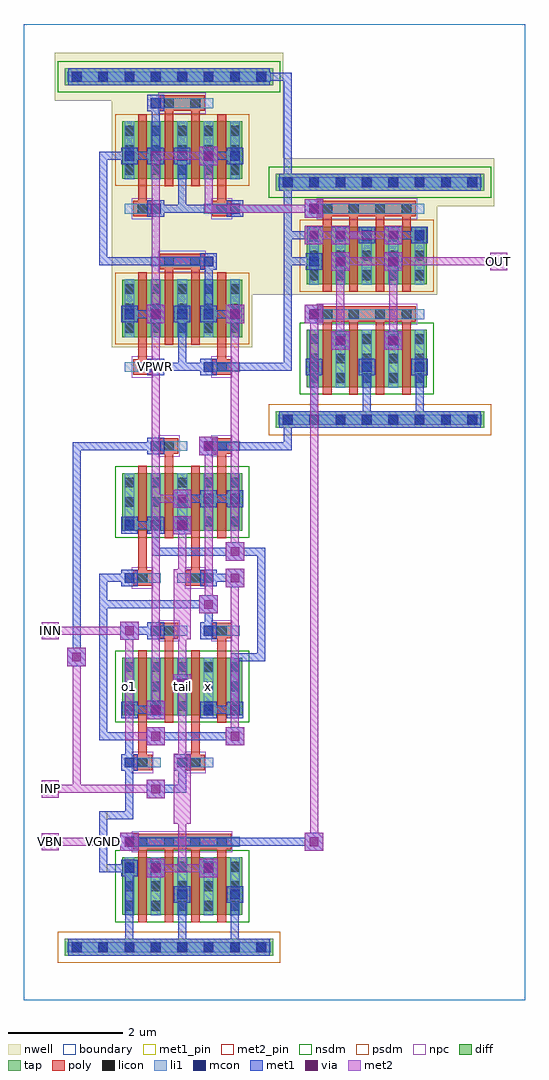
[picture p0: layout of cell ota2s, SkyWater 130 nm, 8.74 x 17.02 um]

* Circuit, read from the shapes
.subckt ota2s INN INP OUT VBN VGND VPWR o1 tail x
XM1 tail VBN VGND VGND sky130_fd_pr__nfet_01v8 w=1 l=0.15 m=4
XM2 o1 VGND o1 VGND sky130_fd_pr__nfet_01v8 w=1 l=0.15 m=2
XM3 x VGND x VGND sky130_fd_pr__nfet_01v8 w=1 l=0.15 m=2
XM4 tail INN o1 VGND sky130_fd_pr__nfet_01v8 w=1 l=0.15 m=2
XM5 tail INP x VGND sky130_fd_pr__nfet_01v8 w=1 l=0.15 m=2
XM6 OUT VBN VGND VGND sky130_fd_pr__nfet_01v8 w=1 l=0.15 m=4
XM7 o1 VPWR o1 VPWR sky130_fd_pr__pfet_01v8 w=1 l=0.15 m=2
XM8 x VPWR x VPWR sky130_fd_pr__pfet_01v8 w=1 l=0.15 m=2
XM9 VPWR x o1 VPWR sky130_fd_pr__pfet_01v8 w=1 l=0.15 m=2
XM10 VPWR x x VPWR sky130_fd_pr__pfet_01v8 w=1 l=0.15 m=2
XM11 OUT o1 VPWR VPWR sky130_fd_pr__pfet_01v8 w=1 l=0.15 m=4
.ends

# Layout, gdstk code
import gdstk
lib = gdstk.Library(unit=1e-6, precision=1e-09)
def R(c, l, rs):  # rectangles x0, y0, x1, y1
    for r in rs: c.add(gdstk.rectangle(r[:2], r[2:], *l))
def A(c, l, x, y, w, h, nx, ny, dx, dy):  # array of equal rectangles
    R(c, l, [(x+i*dx, y+j*dy, x+i*dx+w, y+j*dy+h) for i in range(nx) for j in range(ny)])
nwell = (64, 20)
diff = (65, 20)
tap = (65, 44)
poly = (66, 20)
licon = (66, 44)
li1 = (67, 20)
mcon = (67, 44)
met1_pin = (68, 16)
met1 = (68, 20)
via = (68, 44)
met2_pin = (69, 16)
met2 = (69, 20)
nsdm = (93, 44)
psdm = (94, 20)
npc = (95, 20)
boundary = (235, 4)

ota2s = lib.new_cell('ota2s')
R(ota2s, nwell, [(1.535,11.38,3.985,12.3), (1.535,12.3,7.205,13.84), (1.535,13.84,8.205,14.68), (1.535,14.68,4.525,15.68), (0.535,15.68,4.525,16.52)])
R(ota2s, diff, [(1.715,1.485,3.805,2.485), (1.715,4.965,3.805,5.965), (1.715,8.185,3.805,9.185), (4.935,10.685,7.025,11.685), (1.715,11.56,3.805,12.56), (4.935,12.48,7.025,13.48), (1.715,14.32,3.805,15.32)])
R(ota2s, tap, [(0.715,0.775,4.345,1.065), (4.395,9.975,8.025,10.265), (4.395,14.115,8.025,14.405), (0.715,15.955,4.345,16.245)])
A(ota2s, poly, 1.995, 1.355, 0.15, 1.405, 4, 1, 0.46, 0)
A(ota2s, poly, 5.215, 10.555, 0.15, 1.405, 4, 1, 0.46, 0)
A(ota2s, poly, 5.215, 12.35, 0.15, 1.45, 4, 1, 0.46, 0)
R(ota2s, poly, [(1.905,2.625,3.615,2.895), (1.905,4.005,2.235,4.275), (2.825,4.005,3.155,4.275), (1.995,4.14,2.145,6.095), (2.915,4.14,3.065,6.095), (2.455,4.835,2.605,6.44), (3.375,4.835,3.525,6.44), (2.365,6.305,2.695,6.575), (3.285,6.305,3.615,6.575), (1.905,7.225,2.235,7.495), (2.825,7.225,3.155,7.495), (1.995,7.36,2.145,9.315), (2.915,7.36,3.065,9.315), (2.455,8.055,2.605,9.66), (3.375,8.055,3.525,9.66), (2.365,9.525,2.695,9.795), (3.285,9.525,3.615,9.795), (1.905,10.905,2.235,11.175), (3.285,10.905,3.615,11.175), (1.995,11.04,2.145,12.69), (3.375,11.04,3.525,12.69), (2.455,11.43,2.605,12.88), (2.915,11.43,3.065,12.88), (5.125,11.825,6.835,12.095), (2.365,12.745,3.155,13.015), (1.905,13.665,2.235,13.935), (3.285,13.665,3.615,13.935), (5.125,13.665,6.835,13.935), (1.995,13.8,2.145,15.45), (3.375,13.8,3.525,15.45), (2.455,14.19,2.605,15.64), (2.915,14.19,3.065,15.64), (2.365,15.505,3.155,15.775)])
A(ota2s, licon, 0.835, 0.835, 0.17, 0.17, 8, 2, 0.46, 15.18)
A(ota2s, licon, 1.755, 1.56, 0.17, 0.17, 5, 3, 0.46, 0.34)
A(ota2s, licon, 1.985, 2.675, 0.17, 0.17, 4, 1, 0.46, 0)
A(ota2s, licon, 1.755, 5.04, 0.17, 0.17, 5, 3, 0.46, 0.34)
A(ota2s, licon, 2.445, 6.355, 0.17, 0.17, 1, 3, 0, 3.22)
A(ota2s, licon, 1.755, 8.26, 0.17, 0.17, 5, 3, 0.46, 0.34)
A(ota2s, licon, 4.515, 10.035, 0.17, 0.17, 8, 2, 0.46, 4.14)
A(ota2s, licon, 4.975, 10.76, 0.17, 0.17, 5, 3, 0.46, 0.34)
A(ota2s, licon, 1.755, 11.635, 0.17, 0.17, 5, 3, 0.46, 0.34)
A(ota2s, licon, 5.205, 11.875, 0.17, 0.17, 4, 2, 0.46, 1.84)
A(ota2s, licon, 4.975, 12.555, 0.17, 0.17, 5, 3, 0.46, 0.34)
A(ota2s, licon, 1.755, 14.395, 0.17, 0.17, 5, 3, 0.46, 0.34)
R(ota2s, licon, [(1.985,4.055,2.155,4.225), (2.905,4.055,3.075,4.225), (3.365,6.355,3.535,6.525), (1.985,7.275,2.155,7.445), (2.905,7.275,3.075,7.445), (3.365,9.575,3.535,9.745), (1.985,10.955,2.155,11.125), (3.365,10.955,3.535,11.125), (2.905,12.795,3.075,12.965), (1.985,13.715,2.155,13.885), (3.365,13.715,3.535,13.885), (2.445,15.555,2.615,15.725), (2.905,15.555,3.075,15.725)])
A(ota2s, li1, 1.755, 1.48, 0.17, 1.01, 5, 2, 0.46, 3.48)
A(ota2s, li1, 1.755, 8.18, 0.17, 1.01, 5, 2, 0.46, 3.375)
A(ota2s, li1, 4.975, 10.68, 0.17, 1.01, 5, 2, 0.46, 1.795)
A(ota2s, li1, 1.755, 14.315, 0.17, 1.01, 5, 1, 0.46, 0)
R(ota2s, li1, [(0.755,0.835,4.305,1.005), (1.755,2.675,3.765,2.845), (1.755,4.055,2.385,4.225), (2.675,4.055,3.305,4.225), (2.215,6.355,2.845,6.525), (3.135,6.355,3.765,6.525), (1.755,7.275,2.385,7.445), (2.675,7.275,3.305,7.445), (2.215,9.575,2.845,9.745), (3.135,9.575,3.765,9.745), (4.435,10.035,7.985,10.205), (1.755,10.955,2.385,11.125), (3.135,10.955,3.765,11.125), (4.975,11.875,6.985,12.045), (2.215,12.795,3.305,12.965), (1.755,13.715,2.385,13.885), (3.135,13.715,3.765,13.885), (4.975,13.715,6.985,13.885), (4.435,14.175,7.985,14.345), (2.215,15.555,3.305,15.725), (0.755,16.015,4.305,16.185)])
A(ota2s, mcon, 0.835, 0.835, 0.17, 0.17, 8, 2, 0.46, 15.18)
A(ota2s, mcon, 1.755, 8.195, 0.17, 0.17, 3, 1, 0.46, 0)
A(ota2s, mcon, 4.515, 10.035, 0.17, 0.17, 8, 2, 0.46, 4.14)
A(ota2s, mcon, 4.975, 10.955, 0.17, 0.17, 3, 1, 0.92, 0)
A(ota2s, mcon, 1.755, 11.875, 0.17, 0.17, 5, 2, 0.46, 2.76)
A(ota2s, mcon, 2.215, 13.715, 0.17, 0.17, 3, 1, 1.38, 0)
R(ota2s, mcon, [(2.675,1.755,2.845,1.925), (3.595,1.755,3.765,1.925), (1.755,2.215,1.925,2.385), (2.215,2.215,2.385,2.385), (3.135,2.215,3.305,2.385), (1.755,2.675,1.925,2.845), (1.755,4.055,1.925,4.225), (2.675,4.055,2.845,4.225), (1.755,4.975,1.925,5.145), (2.215,4.975,2.385,5.145), (3.135,4.975,3.305,5.145), (3.595,4.975,3.765,5.145), (2.675,5.435,2.845,5.605), (2.215,6.355,2.385,6.525), (3.135,6.355,3.305,6.525), (1.755,7.275,1.925,7.445), (3.135,7.275,3.305,7.445), (3.135,8.655,3.305,8.825), (3.595,8.655,3.765,8.825), (2.215,9.575,2.385,9.745), (3.135,9.575,3.305,9.745), (2.215,10.955,2.385,11.125), (3.135,10.955,3.305,11.125), (5.435,11.415,5.605,11.585), (6.355,11.415,6.525,11.585), (4.975,11.875,5.145,12.045), (3.135,12.795,3.305,12.965), (4.975,12.795,5.145,12.965), (5.435,12.795,5.605,12.965), (6.355,12.795,6.525,12.965), (5.895,13.255,6.065,13.425), (6.815,13.255,6.985,13.425), (2.215,15.555,2.385,15.725)])
R(ota2s, met1_pin, [(1.31,2.23,1.45,3.29), (2.155,10.895,2.445,11.185)])
A(ota2s, met1, 1.695, 8.135, 0.29, 0.29, 3, 1, 0.46, 0)
A(ota2s, met1, 4.99, 10.05, 0.14, 1.06, 3, 1, 0.92, 0)
A(ota2s, met1, 4.915, 10.895, 0.29, 0.29, 3, 1, 0.92, 0)
A(ota2s, met1, 2.14, 11.8, 0.32, 0.32, 3, 1, 1.38, 0)
A(ota2s, met1, 1.695, 11.815, 0.29, 0.29, 5, 2, 0.46, 2.76)
A(ota2s, met1, 4.53, 13.27, 0.6, 0.14, 3, 1, 0.92, 0)
A(ota2s, met1, 2.155, 13.655, 0.29, 0.29, 3, 1, 1.38, 0)
R(ota2s, met1, [(0.775,0.775,4.285,1.065), (1.77,0.85,2.83,0.99), (1.77,0.85,1.91,0.99), (1.77,0.85,1.91,2.37), (2.69,0.85,3.75,0.99), (2.69,0.85,2.83,1.91), (3.61,0.85,3.75,1.91), (2.615,1.695,2.905,1.985), (3.535,1.695,3.825,1.985), (2.14,2.14,2.46,2.46), (3.06,2.14,3.38,2.46), (1.695,2.155,1.985,2.445), (2.155,2.155,2.445,2.445), (3.075,2.155,3.365,2.445), (1.31,2.23,1.91,2.37), (1.31,2.23,1.45,3.29), (1.68,2.6,2,2.92), (4.9,2.6,5.22,2.92), (1.695,2.615,1.985,2.905), (1.77,2.69,5.13,2.83), (1.31,3.15,1.91,3.29), (1.77,3.15,1.91,4.21), (2.14,3.52,2.46,3.84), (2.23,3.61,2.83,3.75), (2.69,3.61,2.83,4.21), (1.695,3.995,1.985,4.285), (2.615,3.995,2.905,4.285), (1.77,4.07,1.91,4.67), (2.14,4.44,2.46,4.76), (3.52,4.44,3.84,4.76), (1.31,4.53,1.91,4.67), (1.31,4.53,1.45,7.43), (2.23,4.53,3.75,4.67), (2.14,4.9,2.46,5.22), (1.695,4.915,1.985,5.205), (2.155,4.915,2.445,5.205), (3.075,4.915,3.365,5.205), (3.535,4.915,3.825,5.205), (1.77,4.99,2.37,5.13), (3.15,4.99,3.75,5.13), (3.61,4.99,3.75,6.05), (2.6,5.36,2.92,5.68), (2.615,5.375,2.905,5.665), (0.76,5.82,1.08,6.14), (0.85,5.91,0.99,9.73), (3.61,5.91,4.21,6.05), (4.07,5.91,4.21,7.89), (1.68,6.28,2,6.6), (2.155,6.295,2.445,6.585), (3.075,6.295,3.365,6.585), (1.77,6.37,2.37,6.51), (3.15,6.37,3.29,6.97), (3.06,6.74,3.38,7.06), (1.31,6.83,3.29,6.97), (3.52,7.2,3.84,7.52), (1.695,7.215,1.985,7.505), (3.075,7.215,3.365,7.505), (1.31,7.29,1.91,7.43), (3.15,7.29,3.75,7.43), (3.52,7.66,3.84,7.98), (2.23,7.75,2.37,8.35), (2.23,7.75,4.21,7.89), (2.6,8.12,2.92,8.44), (1.77,8.21,2.37,8.35), (2.6,8.58,2.92,8.9), (3.075,8.595,3.365,8.885), (3.535,8.595,3.825,8.885), (2.69,8.67,3.29,8.81), (3.15,8.67,3.75,8.81), (3.06,9.5,3.38,9.82), (2.155,9.515,2.445,9.805), (3.075,9.515,3.365,9.805), (0.85,9.59,2.37,9.73), (3.15,9.59,4.67,9.73), (4.53,9.59,4.67,10.19), (4.455,9.975,7.965,10.265), (4.53,10.05,5.13,10.19), (4.53,10.05,4.67,10.19), (4.99,10.05,6.05,10.19), (5.91,10.05,6.97,10.19), (2.155,10.895,2.445,11.185), (3.075,10.895,3.365,11.185), (2.23,10.97,3.29,11.11), (2.69,10.97,2.83,12.03), (3.15,10.97,4.67,11.11), (4.53,10.97,4.67,12.95), (5.36,11.34,5.68,11.66), (6.28,11.34,6.6,11.66), (5.375,11.355,5.665,11.645), (6.295,11.355,6.585,11.645), (4.915,11.815,5.205,12.105), (1.77,11.89,2.37,12.03), (3.15,11.89,3.75,12.03), (3.15,11.89,3.29,12.95), (5.36,12.72,5.68,13.04), (6.28,12.72,6.6,13.04), (3.075,12.735,3.365,13.025), (4.915,12.735,5.205,13.025), (5.375,12.735,5.665,13.025), (6.295,12.735,6.585,13.025), (1.31,12.81,1.45,14.79), (1.31,12.81,3.29,12.95), (4.53,12.81,5.13,12.95), (4.53,12.81,4.67,14.33), (4.9,13.18,5.22,13.5), (5.36,13.18,5.68,13.5), (6.28,13.18,6.6,13.5), (5.835,13.195,6.125,13.485), (6.755,13.195,7.045,13.485), (4.9,13.64,5.22,13.96), (2.23,13.73,3.75,13.87), (2.69,13.73,2.83,14.79), (3.61,13.73,4.67,13.87), (4.455,14.115,7.965,14.405), (4.53,14.19,4.67,16.17), (4.53,14.19,4.67,14.33), (3.06,14.56,3.38,14.88), (1.31,14.65,1.91,14.79), (1.77,14.65,2.37,14.79), (2.23,14.65,2.37,15.71), (3.15,14.65,3.75,14.79), (2.155,15.495,2.445,15.785), (0.775,15.955,4.285,16.245), (4.07,16.03,4.67,16.17), (4.07,16.03,4.21,16.17)])
A(ota2s, via, 2.225, 11.885, 0.15, 0.15, 3, 1, 1.38, 0)
R(ota2s, via, [(2.225,2.225,2.375,2.375), (3.145,2.225,3.295,2.375), (1.765,2.685,1.915,2.835), (4.985,2.685,5.135,2.835), (2.225,3.605,2.375,3.755), (2.225,4.525,2.375,4.675), (3.605,4.525,3.755,4.675), (2.225,4.985,2.375,5.135), (2.685,5.445,2.835,5.595), (0.845,5.905,0.995,6.055), (1.765,6.365,1.915,6.515), (3.145,6.825,3.295,6.975), (3.605,7.285,3.755,7.435), (3.605,7.745,3.755,7.895), (2.685,8.205,2.835,8.355), (2.685,8.665,2.835,8.815), (3.145,9.585,3.295,9.735), (5.445,11.425,5.595,11.575), (6.365,11.425,6.515,11.575), (5.445,12.805,5.595,12.955), (6.365,12.805,6.515,12.955), (4.985,13.265,5.135,13.415), (5.445,13.265,5.595,13.415), (6.365,13.265,6.515,13.415), (4.985,13.725,5.135,13.875), (3.145,14.645,3.295,14.795)])
R(ota2s, met2_pin, [(0.31,2.61,0.61,2.91), (0.31,3.53,0.61,3.83), (0.31,6.29,0.61,6.59), (8.13,12.73,8.43,13.03)])
A(ota2s, met2, 2.14, 11.8, 0.32, 0.32, 3, 1, 1.38, 0)
R(ota2s, met2, [(2.14,2.14,2.46,2.46), (3.06,2.14,3.38,2.46), (2.23,2.23,2.83,2.37), (2.69,2.23,2.83,3.29), (2.69,2.23,3.29,2.37), (1.68,2.6,2,2.92), (4.9,2.6,5.22,2.92), (0.31,2.61,0.61,2.91), (0.39,2.69,0.53,2.83), (0.39,2.69,1.91,2.83), (4.99,2.69,5.13,12.03), (2.61,3.07,2.91,4.29), (2.14,3.52,2.46,3.84), (0.31,3.53,0.61,3.83), (0.39,3.61,0.53,3.75), (0.39,3.61,2.37,3.75), (0.85,3.61,0.99,6.05), (2.69,4.07,2.83,5.59), (2.14,4.44,2.46,4.76), (3.52,4.44,3.84,4.76), (1.77,4.53,2.37,4.67), (1.77,4.53,1.91,6.51), (3.61,4.53,3.75,7.43), (2.14,4.9,2.46,5.22), (2.23,4.99,2.37,8.81), (2.6,5.36,2.92,5.68), (2.69,5.45,2.83,6.51), (0.76,5.82,1.08,6.14), (1.68,6.28,2,6.6), (0.31,6.29,0.61,6.59), (2.61,6.29,2.91,7.51), (0.39,6.37,0.53,6.51), (0.39,6.37,1.91,6.51), (3.06,6.74,3.38,7.06), (3.15,6.83,3.29,9.73), (3.52,7.2,3.84,7.52), (2.69,7.29,2.83,8.35), (3.52,7.66,3.84,7.98), (3.61,7.75,3.75,12.03), (2.6,8.12,2.92,8.44), (2.6,8.58,2.92,8.9), (2.23,8.67,2.83,8.81), (2.23,8.67,2.37,12.03), (3.06,9.5,3.38,9.82), (5.36,11.34,5.68,11.66), (6.28,11.34,6.6,11.66), (5.45,11.43,5.59,12.95), (6.37,11.43,6.51,12.95), (2.23,11.89,2.37,14.79), (5.36,12.72,5.68,13.04), (6.28,12.72,6.6,13.04), (8.13,12.73,8.43,13.03), (5.45,12.81,6.51,12.95), (6.37,12.81,8.35,12.95), (8.21,12.81,8.35,12.95), (4.9,13.18,5.22,13.5), (5.36,13.18,5.68,13.5), (6.28,13.18,6.6,13.5), (4.99,13.27,5.59,13.41), (5.45,13.27,6.51,13.41), (4.9,13.64,5.22,13.96), (3.15,13.73,3.29,14.79), (3.15,13.73,5.13,13.87), (3.06,14.56,3.38,14.88), (2.23,14.65,3.29,14.79)])
R(ota2s, nsdm, [(1.59,1.36,3.93,2.61), (1.59,4.84,3.93,6.09), (1.59,8.06,3.93,9.31), (4.81,10.56,7.15,11.81), (4.27,13.99,8.15,14.53), (0.59,15.83,4.47,16.37)])
R(ota2s, psdm, [(0.59,0.65,4.47,1.19), (4.27,9.85,8.15,10.39), (1.59,11.435,3.93,12.685), (4.81,12.355,7.15,13.605), (1.59,14.195,3.93,15.445)])
R(ota2s, npc, [(1.885,2.575,3.635,2.945), (1.885,3.955,2.255,4.325), (2.805,3.955,3.175,4.325), (2.345,6.255,2.715,6.625), (3.265,6.255,3.635,6.625), (1.885,7.175,2.255,7.545), (2.805,7.175,3.175,7.545), (2.345,9.475,2.715,9.845), (3.265,9.475,3.635,9.845), (1.885,10.855,2.255,11.225), (3.265,10.855,3.635,11.225), (5.105,11.775,6.855,12.145), (2.345,12.695,3.175,13.065), (1.885,13.615,2.255,13.985), (3.265,13.615,3.635,13.985), (5.105,13.615,6.855,13.985), (2.345,15.455,3.175,15.825)])
R(ota2s, boundary, [(0,0,8.74,17.02)])
ota2s.add(gdstk.Label('o1', (1.84,5.465), layer=67, texttype=5))
ota2s.add(gdstk.Label('tail', (2.76,5.465), layer=67, texttype=5))
ota2s.add(gdstk.Label('x', (3.22,5.465), layer=67, texttype=5))
ota2s.add(gdstk.Label('VPWR', (2.3,11.04), layer=68, texttype=5))
ota2s.add(gdstk.Label('VGND', (1.38,2.76), layer=68, texttype=5))
ota2s.add(gdstk.Label('INP', (0.46,3.68), layer=69, texttype=5))
ota2s.add(gdstk.Label('INN', (0.46,6.44), layer=69, texttype=5))
ota2s.add(gdstk.Label('VBN', (0.46,2.76), layer=69, texttype=5))
ota2s.add(gdstk.Label('OUT', (8.28,12.88), layer=69, texttype=5))
ota2s.add(gdstk.Label('VPWR', (2.3,11.04), layer=68, texttype=16))
ota2s.add(gdstk.Label('VGND', (1.38,2.76), layer=68, texttype=16))
ota2s.add(gdstk.Label('INP', (0.46,3.68), layer=69, texttype=16))
ota2s.add(gdstk.Label('INN', (0.46,6.44), layer=69, texttype=16))
ota2s.add(gdstk.Label('VBN', (0.46,2.76), layer=69, texttype=16))
ota2s.add(gdstk.Label('OUT', (8.28,12.88), layer=69, texttype=16))

lib.write_gds('ota2s.gds')
